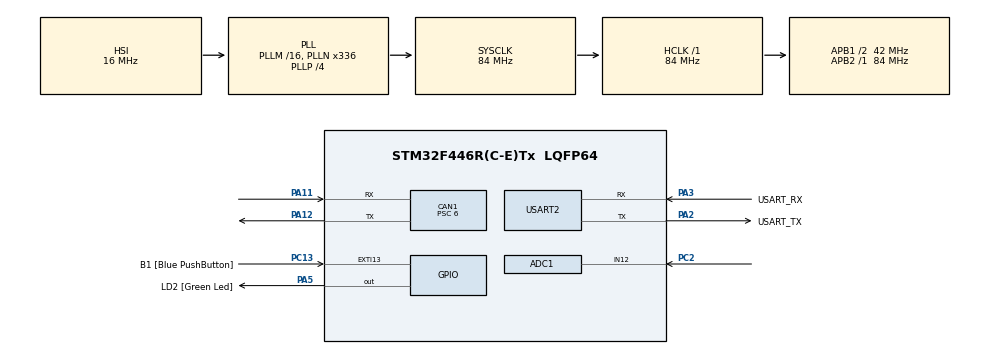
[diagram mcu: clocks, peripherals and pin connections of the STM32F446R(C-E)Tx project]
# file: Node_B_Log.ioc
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ADC1.Channel-0\#ChannelRegularConversion=ADC_CHANNEL_12
ADC1.NbrOfConversionFlag=1
ADC1.Rank-0\#ChannelRegularConversion=1
ADC1.SamplingTime-0\#ChannelRegularConversion=ADC_SAMPLETIME_3CYCLES
ADC1.master=1
CAN1.BS1=CAN_BS1_11TQ
CAN1.BS2=CAN_BS2_2TQ
CAN1.CalculateBaudRate=500000
CAN1.CalculateTimeBit=2000
CAN1.CalculateTimeQuantum=142.85714285714286
CAN1.NART=ENABLE
CAN1.Prescaler=6
Mcu.Family=STM32F4
Mcu.Name=STM32F446R(C-E)Tx
Mcu.Package=LQFP64
NVIC.CAN1_RX0_IRQn=true\:0\:0\:false\:false\:true\:true\:true\:true
NVIC.PriorityGroup=NVIC_PRIORITYGROUP_0
PA11.GPIO_PuPd=GPIO_PULLUP
PA11.Mode=CAN_Activate
PA11.Signal=CAN1_RX
PA12.Mode=CAN_Activate
PA12.Signal=CAN1_TX
PA13.GPIO_Label=TMS
PA13.Mode=Serial_Wire
PA13.Signal=SYS_JTMS-SWDIO
PA14.GPIO_Label=TCK
PA14.Mode=Serial_Wire
PA14.Signal=SYS_JTCK-SWCLK
PA2.GPIO_Label=USART_TX
PA2.Mode=Asynchronous
PA2.Signal=USART2_TX
PA3.GPIO_Label=USART_RX
PA3.Mode=Asynchronous
PA3.Signal=USART2_RX
PA5.GPIO_Label=LD2 [Green Led]
PA5.Signal=GPIO_Output
PB3.GPIO_Label=SWO
PB3.Signal=SYS_JTDO-SWO
PC13.GPIO_Label=B1 [Blue PushButton]
PC13.GPIO_ModeDefaultEXTI=GPIO_MODE_IT_FALLING
PC13.Signal=GPXTI13
PC14-OSC32_IN.Mode=LSE-External-Oscillator
PC14-OSC32_IN.Signal=RCC_OSC32_IN
PC15-OSC32_OUT.Mode=LSE-External-Oscillator
PC15-OSC32_OUT.Signal=RCC_OSC32_OUT
PC2.Signal=ADCx_IN12
PH0-OSC_IN.Mode=HSE-External-Oscillator
PH0-OSC_IN.Signal=RCC_OSC_IN
PH1-OSC_OUT.Mode=HSE-External-Oscillator
PH1-OSC_OUT.Signal=RCC_OSC_OUT
ProjectManager.HeapSize=0x200
ProjectManager.StackSize=0x400
ProjectManager.TargetToolchain=CMake
RCC.48MHZClocksFreq_Value=84000000
RCC.AHBFreq_Value=84000000
RCC.APB1CLKDivider=RCC_HCLK_DIV2
RCC.APB1Freq_Value=42000000
RCC.APB1TimFreq_Value=84000000
RCC.APB2Freq_Value=84000000
RCC.APB2TimFreq_Value=84000000
RCC.CortexFreq_Value=84000000
RCC.FLatency-AdvancedSettings=FLASH_LATENCY_2
RCC.HCLKFreq_Value=84000000
RCC.HSE_VALUE=8000000
RCC.HSI_VALUE=16000000
RCC.PLLN=336
RCC.PLLP=RCC_PLLP_DIV4
RCC.SYSCLKFreq_VALUE=84000000
RCC.SYSCLKSource=RCC_SYSCLKSOURCE_PLLCLK
RCC.USBFreq_Value=168000000
RCC.VCOOutputFreq_Value=336000000
SH.ADCx_IN12.0=ADC1_IN12,IN12
USART2.VirtualMode=VM_ASYNC
board=NUCLEO-F446RE

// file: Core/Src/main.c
/* USER CODE BEGIN Header */
/**
  ******************************************************************************
  * @file           : main.c
  * @brief          : Main program body
  ******************************************************************************
  * @attention
  *
  * Copyright (c) 2026 STMicroelectronics.
  * All rights reserved.
  *
  * This software is licensed under terms that can be found in the LICENSE file
  * in the root directory of this software component.
  * If no LICENSE file comes with this software, it is provided AS-IS.
  *
  ******************************************************************************
  */
/* USER CODE END Header */
#include "main.h"

/* USER CODE BEGIN Includes */
#include <math.h>
#include <stdint.h>
#include <stdio.h>
#include <string.h>
#include "can_protocol.h"
/* USER CODE END Includes */

ADC_HandleTypeDef hadc1;

CAN_HandleTypeDef hcan1;

UART_HandleTypeDef huart2;

/* USER CODE BEGIN PV */
volatile uint32_t canRxCount = 0;
volatile uint32_t canRxDecodeOk = 0;
volatile uint32_t canRxDecodeFail = 0;
volatile uint32_t canRxFifoReadFail = 0;

volatile uint32_t canWindowRxCount = 0;
volatile uint32_t canWindowDecodeOk = 0;
volatile uint32_t canWindowDecodeFail = 0;
volatile uint32_t canWindowFifoReadFail = 0;

volatile uint32_t canWindowThrottleCount = 0;
volatile uint32_t canWindowEngineCount = 0;
volatile uint32_t canWindowBrakeCount = 0;
volatile uint32_t canWindowFaultCount = 0;
volatile uint32_t canWindowUnknownCount = 0;

volatile uint8_t canWindowHasThrottle = 0;
volatile uint8_t canWindowHasEngine = 0;
volatile uint8_t canWindowHasBrake = 0;
volatile uint8_t canWindowHasFault = 0;

volatile CAN_DecodedMessage_t canWindowLastThrottleMsg;
volatile CAN_DecodedMessage_t canWindowLastEngineMsg;
volatile CAN_DecodedMessage_t canWindowLastBrakeMsg;
volatile CAN_DecodedMessage_t canWindowLastFaultMsg;

volatile uint8_t newCanMessageFlag = 0;
volatile CAN_DecodedMessage_t lastDecodedMsg;
/* USER CODE END PV */

void SystemClock_Config(void);
static void MX_GPIO_Init(void);
static void MX_ADC1_Init(void);
static void MX_USART2_UART_Init(void);
static void MX_CAN1_Init(void);
/* USER CODE BEGIN PFP */
static void CAN_Filter_Config(void);
static void dashboard_print_status(uint32_t windowMs,
                                   uint32_t windowRxCount,
                                   uint32_t windowDecodeOk,
                                   uint32_t windowDecodeFail,
                                   uint32_t windowFifoFail,
                                   uint32_t throttleCount,
                                   uint32_t engineCount,
                                   uint32_t brakeCount,
                                   uint32_t faultCount,
                                   uint32_t unknownCount,
                                   const CAN_DecodedMessage_t *throttleMsg,
                                   const CAN_DecodedMessage_t *engineMsg,
                                   const CAN_DecodedMessage_t *brakeMsg,
                                   const CAN_DecodedMessage_t *faultMsg,
                                   uint8_t hasThrottle,
                                   uint8_t hasEngine,
                                   uint8_t hasBrake,
                                   uint8_t hasFault);
/* USER CODE END PFP */

/* USER CODE BEGIN 0 */

void HAL_CAN_RxFifo0MsgPendingCallback(CAN_HandleTypeDef *hcan)
{
  CAN_RxHeaderTypeDef rxHeader;
  uint8_t rxData[8];
  CAN_DecodedMessage_t decoded;

  if (hcan->Instance != CAN1) {
    return;
  }

  if (HAL_CAN_GetRxMessage(hcan, CAN_RX_FIFO0, &rxHeader, rxData) == HAL_OK) {
    canRxCount++;
    canWindowRxCount++;

    if (CAN_Protocol_Decode(&rxHeader, rxData, &decoded)) {
      canRxDecodeOk++;
      canWindowDecodeOk++;

      switch (decoded.type) {
        case CAN_MSG_THROTTLE_STATUS:
          canWindowThrottleCount++;
          canWindowHasThrottle = 1;
          canWindowLastThrottleMsg = decoded;
          break;

        case CAN_MSG_ENGINE_STATUS:
          canWindowEngineCount++;
          canWindowHasEngine = 1;
          canWindowLastEngineMsg = decoded;
          break;

        case CAN_MSG_BRAKE_STATUS:
          canWindowBrakeCount++;
          canWindowHasBrake = 1;
          canWindowLastBrakeMsg = decoded;
          break;

        case CAN_MSG_FAULT_STATUS:
          canWindowFaultCount++;
          canWindowHasFault = 1;
          canWindowLastFaultMsg = decoded;
          break;

        default:
          canWindowUnknownCount++;
          break;
      }
    } else {
      canRxDecodeFail++;
      canWindowDecodeFail++;
    }
  } else {
    canRxFifoReadFail++;
    canWindowFifoReadFail++;
  }
}
/* USER CODE END 0 */

int main(void)
{

  /* MCU Configuration--------------------------------------------------------*/

  /* Reset of all peripherals, Initializes the Flash interface and the Systick. */
  HAL_Init();

  /* Configure the system clock */
  SystemClock_Config();

  /* Initialize all configured peripherals */
  MX_GPIO_Init();
  MX_ADC1_Init();
  MX_USART2_UART_Init();
  MX_CAN1_Init();
  /* USER CODE BEGIN 2 */

  CAN_Filter_Config();

  if (HAL_CAN_Start(&hcan1) != HAL_OK) {
    Error_Handler();
  }

  if (HAL_CAN_ActivateNotification(&hcan1, CAN_IT_RX_FIFO0_MSG_PENDING) != HAL_OK) {
    Error_Handler();
  }

  uint32_t lastStatusPrintMs = 0;
  uint32_t lastHeartbeatMs = 0;
  const uint32_t statusPrintIntervalMs = 500;

  /* USER CODE END 2 */

  /* Infinite loop */
  /* USER CODE BEGIN WHILE */
  while (1)
  {
    uint32_t now = HAL_GetTick();

    if (now - lastStatusPrintMs >= statusPrintIntervalMs) {
      uint32_t windowRxCount;
      uint32_t windowDecodeOk;
      uint32_t windowDecodeFail;
      uint32_t windowFifoFail;
      uint32_t windowThrottle;
      uint32_t windowEngine;
      uint32_t windowBrake;
      uint32_t windowFault;
      uint32_t windowUnknown;
      uint8_t hasThrottle;
      uint8_t hasEngine;
      uint8_t hasBrake;
      uint8_t hasFault;
      CAN_DecodedMessage_t throttleMsg;
      CAN_DecodedMessage_t engineMsg;
      CAN_DecodedMessage_t brakeMsg;
      CAN_DecodedMessage_t faultMsg;

      __disable_irq();
      windowRxCount = canWindowRxCount;
      windowDecodeOk = canWindowDecodeOk;
      windowDecodeFail = canWindowDecodeFail;
      windowFifoFail = canWindowFifoReadFail;
      windowThrottle = canWindowThrottleCount;
      windowEngine = canWindowEngineCount;
      windowBrake = canWindowBrakeCount;
      windowFault = canWindowFaultCount;
      windowUnknown = canWindowUnknownCount;
      hasThrottle = canWindowHasThrottle;
      hasEngine = canWindowHasEngine;
      hasBrake = canWindowHasBrake;
      hasFault = canWindowHasFault;

      throttleMsg = canWindowLastThrottleMsg;
      engineMsg = canWindowLastEngineMsg;
      brakeMsg = canWindowLastBrakeMsg;
      faultMsg = canWindowLastFaultMsg;

      canWindowRxCount = 0;
      canWindowDecodeOk = 0;
      canWindowDecodeFail = 0;
      canWindowFifoReadFail = 0;
      canWindowThrottleCount = 0;
      canWindowEngineCount = 0;
      canWindowBrakeCount = 0;
      canWindowFaultCount = 0;
      canWindowUnknownCount = 0;
      canWindowHasThrottle = 0;
      canWindowHasEngine = 0;
      canWindowHasBrake = 0;
      canWindowHasFault = 0;
      __enable_irq();

      lastStatusPrintMs = now;
      dashboard_print_status(statusPrintIntervalMs,
                             windowRxCount,
                             windowDecodeOk,
                             windowDecodeFail,
                             windowFifoFail,
                             windowThrottle,
                             windowEngine,
                             windowBrake,
                             windowFault,
                             windowUnknown,
                             &throttleMsg,
                             &engineMsg,
                             &brakeMsg,
                             &faultMsg,
                             hasThrottle,
                             hasEngine,
                             hasBrake,
                             hasFault);
    }

    if (now - lastHeartbeatMs >= 500) {
      lastHeartbeatMs = now;
      HAL_GPIO_TogglePin(LD2_GPIO_Port, LD2_Pin);
    }
    /* USER CODE END WHILE */

  }
}

void SystemClock_Config(void)
{
  RCC_OscInitTypeDef RCC_OscInitStruct = {0};
  RCC_ClkInitTypeDef RCC_ClkInitStruct = {0};

  /** Configure the main internal regulator output voltage
  */
  __HAL_RCC_PWR_CLK_ENABLE();
  __HAL_PWR_VOLTAGESCALING_CONFIG(PWR_REGULATOR_VOLTAGE_SCALE3);

  /** Initializes the RCC Oscillators according to the specified parameters
  * in the RCC_OscInitTypeDef structure.
  */
  RCC_OscInitStruct.OscillatorType = RCC_OSCILLATORTYPE_HSI;
  RCC_OscInitStruct.HSIState = RCC_HSI_ON;
  RCC_OscInitStruct.HSICalibrationValue = RCC_HSICALIBRATION_DEFAULT;
  RCC_OscInitStruct.PLL.PLLState = RCC_PLL_ON;
  RCC_OscInitStruct.PLL.PLLSource = RCC_PLLSOURCE_HSI;
  RCC_OscInitStruct.PLL.PLLM = 16;
  RCC_OscInitStruct.PLL.PLLN = 336;
  RCC_OscInitStruct.PLL.PLLP = RCC_PLLP_DIV4;
  RCC_OscInitStruct.PLL.PLLQ = 2;
  RCC_OscInitStruct.PLL.PLLR = 2;
  if (HAL_RCC_OscConfig(&RCC_OscInitStruct) != HAL_OK)
  {
    Error_Handler();
  }

  /** Initializes the CPU, AHB and APB buses clocks
  */
  RCC_ClkInitStruct.ClockType = RCC_CLOCKTYPE_HCLK|RCC_CLOCKTYPE_SYSCLK
                              |RCC_CLOCKTYPE_PCLK1|RCC_CLOCKTYPE_PCLK2;
  RCC_ClkInitStruct.SYSCLKSource = RCC_SYSCLKSOURCE_PLLCLK;
  RCC_ClkInitStruct.AHBCLKDivider = RCC_SYSCLK_DIV1;
  RCC_ClkInitStruct.APB1CLKDivider = RCC_HCLK_DIV2;
  RCC_ClkInitStruct.APB2CLKDivider = RCC_HCLK_DIV1;

  if (HAL_RCC_ClockConfig(&RCC_ClkInitStruct, FLASH_LATENCY_2) != HAL_OK)
  {
    Error_Handler();
  }
}

static void MX_ADC1_Init(void)
{

  ADC_ChannelConfTypeDef sConfig = {0};

  /** Configure the global features of the ADC (Clock, Resolution, Data Alignment and number of conversion)
  */
  hadc1.Instance = ADC1;
  hadc1.Init.ClockPrescaler = ADC_CLOCK_SYNC_PCLK_DIV4;
  hadc1.Init.Resolution = ADC_RESOLUTION_12B;
  hadc1.Init.ScanConvMode = DISABLE;
  hadc1.Init.ContinuousConvMode = DISABLE;
  hadc1.Init.DiscontinuousConvMode = DISABLE;
  hadc1.Init.ExternalTrigConvEdge = ADC_EXTERNALTRIGCONVEDGE_NONE;
  hadc1.Init.ExternalTrigConv = ADC_SOFTWARE_START;
  hadc1.Init.DataAlign = ADC_DATAALIGN_RIGHT;
  hadc1.Init.NbrOfConversion = 1;
  hadc1.Init.DMAContinuousRequests = DISABLE;
  hadc1.Init.EOCSelection = ADC_EOC_SINGLE_CONV;
  if (HAL_ADC_Init(&hadc1) != HAL_OK)
  {
    Error_Handler();
  }

  /** Configure for the selected ADC regular channel its corresponding rank in the sequencer and its sample time.
  */
  sConfig.Channel = ADC_CHANNEL_12;
  sConfig.Rank = 1;
  sConfig.SamplingTime = ADC_SAMPLETIME_3CYCLES;
  if (HAL_ADC_ConfigChannel(&hadc1, &sConfig) != HAL_OK)
  {
    Error_Handler();
  }

}

static void MX_CAN1_Init(void)
{

  hcan1.Instance = CAN1;
  hcan1.Init.Prescaler = 6;
  hcan1.Init.Mode = CAN_MODE_NORMAL;
  hcan1.Init.SyncJumpWidth = CAN_SJW_1TQ;
  hcan1.Init.TimeSeg1 = CAN_BS1_11TQ;
  hcan1.Init.TimeSeg2 = CAN_BS2_2TQ;
  hcan1.Init.TimeTriggeredMode = DISABLE;
  hcan1.Init.AutoBusOff = DISABLE;
  hcan1.Init.AutoWakeUp = DISABLE;
  hcan1.Init.AutoRetransmission = ENABLE;
  hcan1.Init.ReceiveFifoLocked = DISABLE;
  hcan1.Init.TransmitFifoPriority = DISABLE;
  if (HAL_CAN_Init(&hcan1) != HAL_OK)
  {
    Error_Handler();
  }

}

static void MX_USART2_UART_Init(void)
{

  huart2.Instance = USART2;
  huart2.Init.BaudRate = 115200;
  huart2.Init.WordLength = UART_WORDLENGTH_8B;
  huart2.Init.StopBits = UART_STOPBITS_1;
  huart2.Init.Parity = UART_PARITY_NONE;
  huart2.Init.Mode = UART_MODE_TX_RX;
  huart2.Init.HwFlowCtl = UART_HWCONTROL_NONE;
  huart2.Init.OverSampling = UART_OVERSAMPLING_16;
  if (HAL_UART_Init(&huart2) != HAL_OK)
  {
    Error_Handler();
  }

}

static void MX_GPIO_Init(void)
{
  GPIO_InitTypeDef GPIO_InitStruct = {0};

  /* GPIO Ports Clock Enable */
  __HAL_RCC_GPIOC_CLK_ENABLE();
  __HAL_RCC_GPIOH_CLK_ENABLE();
  __HAL_RCC_GPIOA_CLK_ENABLE();
  __HAL_RCC_GPIOB_CLK_ENABLE();

  /*Configure GPIO pin Output Level */
  HAL_GPIO_WritePin(LD2_GPIO_Port, LD2_Pin, GPIO_PIN_RESET);

  /*Configure GPIO pin : B1_Pin */
  GPIO_InitStruct.Pin = B1_Pin;
  GPIO_InitStruct.Mode = GPIO_MODE_IT_FALLING;
  GPIO_InitStruct.Pull = GPIO_NOPULL;
  HAL_GPIO_Init(B1_GPIO_Port, &GPIO_InitStruct);

  /*Configure GPIO pin : LD2_Pin */
  GPIO_InitStruct.Pin = LD2_Pin;
  GPIO_InitStruct.Mode = GPIO_MODE_OUTPUT_PP;
  GPIO_InitStruct.Pull = GPIO_NOPULL;
  GPIO_InitStruct.Speed = GPIO_SPEED_FREQ_LOW;
  HAL_GPIO_Init(LD2_GPIO_Port, &GPIO_InitStruct);

}

/* USER CODE BEGIN 4 */
static void CAN_Filter_Config(void)
{
  CAN_FilterTypeDef canfilterconfig;

  canfilterconfig.FilterActivation = CAN_FILTER_ENABLE;
  canfilterconfig.FilterBank = 0;
  canfilterconfig.FilterFIFOAssignment = CAN_RX_FIFO0;
  canfilterconfig.FilterIdHigh = 0x0000;
  canfilterconfig.FilterIdLow = 0x0000;
  canfilterconfig.FilterMaskIdHigh = 0x0000;
  canfilterconfig.FilterMaskIdLow = 0x0000;
  canfilterconfig.FilterMode = CAN_FILTERMODE_IDMASK;
  canfilterconfig.FilterScale = CAN_FILTERSCALE_32BIT;
  canfilterconfig.SlaveStartFilterBank = 14;

  if (HAL_CAN_ConfigFilter(&hcan1, &canfilterconfig) != HAL_OK) {
    Error_Handler();
  }
}

static void dashboard_print_status(uint32_t windowMs,
                                   uint32_t windowRxCount,
                                   uint32_t windowDecodeOk,
                                   uint32_t windowDecodeFail,
                                   uint32_t windowFifoFail,
                                   uint32_t throttleCount,
                                   uint32_t engineCount,
                                   uint32_t brakeCount,
                                   uint32_t faultCount,
                                   uint32_t unknownCount,
                                   const CAN_DecodedMessage_t *throttleMsg,
                                   const CAN_DecodedMessage_t *engineMsg,
                                   const CAN_DecodedMessage_t *brakeMsg,
                                   const CAN_DecodedMessage_t *faultMsg,
                                   uint8_t hasThrottle,
                                   uint8_t hasEngine,
                                   uint8_t hasBrake,
                                   uint8_t hasFault)
{
  char buf[160];

  int n = snprintf(buf, sizeof(buf),
                   "NODE_B %lums: RX=%lu OK=%lu FAIL=%lu FIFO=%lu THR=%lu ENG=%lu BRK=%lu FLT=%lu UNK=%lu\r\n",
                   (unsigned long)windowMs,
                   (unsigned long)windowRxCount,
                   (unsigned long)windowDecodeOk,
                   (unsigned long)windowDecodeFail,
                   (unsigned long)windowFifoFail,
                   (unsigned long)throttleCount,
                   (unsigned long)engineCount,
                   (unsigned long)brakeCount,
                   (unsigned long)faultCount,
                   (unsigned long)unknownCount);

  if (n > 0) {
    HAL_UART_Transmit(&huart2, (uint8_t *)buf, (uint16_t)n, 50);
  }

  if (hasThrottle && throttleMsg != NULL) {
    n = snprintf(buf, sizeof(buf),
                 "  THROTTLE: thr=%u%% rpm=%u speed=%u kph\r\n",
                 throttleMsg->data.throttle.throttle_percent,
                 throttleMsg->data.throttle.rpm,
                 throttleMsg->data.throttle.speed_kph);
    if (n > 0) {
      HAL_UART_Transmit(&huart2, (uint8_t *)buf, (uint16_t)n, 50);
    }
  }

  if (hasEngine && engineMsg != NULL) {
    n = snprintf(buf, sizeof(buf),
                 "  ENGINE: rpm=%u speed=%u kph temp=%uC fault=%u\r\n",
                 engineMsg->data.engine.rpm,
                 engineMsg->data.engine.speed_kph,
                 engineMsg->data.engine.engine_temp_c,
                 engineMsg->data.engine.engine_fault);
    if (n > 0) {
      HAL_UART_Transmit(&huart2, (uint8_t *)buf, (uint16_t)n, 50);
    }
  }

  if (hasBrake && brakeMsg != NULL) {
    n = snprintf(buf, sizeof(buf),
                 "  BRAKE: active=%u pressure=%u%% light=%u fault=%u\r\n",
                 brakeMsg->data.brake.brake_active,
                 brakeMsg->data.brake.brake_pressure,
                 brakeMsg->data.brake.brake_light,
                 brakeMsg->data.brake.brake_fault);
    if (n > 0) {
      HAL_UART_Transmit(&huart2, (uint8_t *)buf, (uint16_t)n, 50);
    }
  }

  if (hasFault && faultMsg != NULL) {
    n = snprintf(buf, sizeof(buf),
                 "  FAULT: source=%u code=%u active=%u\r\n",
                 faultMsg->data.fault.source_node,
                 faultMsg->data.fault.fault_code,
                 faultMsg->data.fault.fault_active);
    if (n > 0) {
      HAL_UART_Transmit(&huart2, (uint8_t *)buf, (uint16_t)n, 50);
    }
  }
}
/* USER CODE END 4 */

void Error_Handler(void)
{
  __disable_irq();
  while (1)
  {
  }
}
